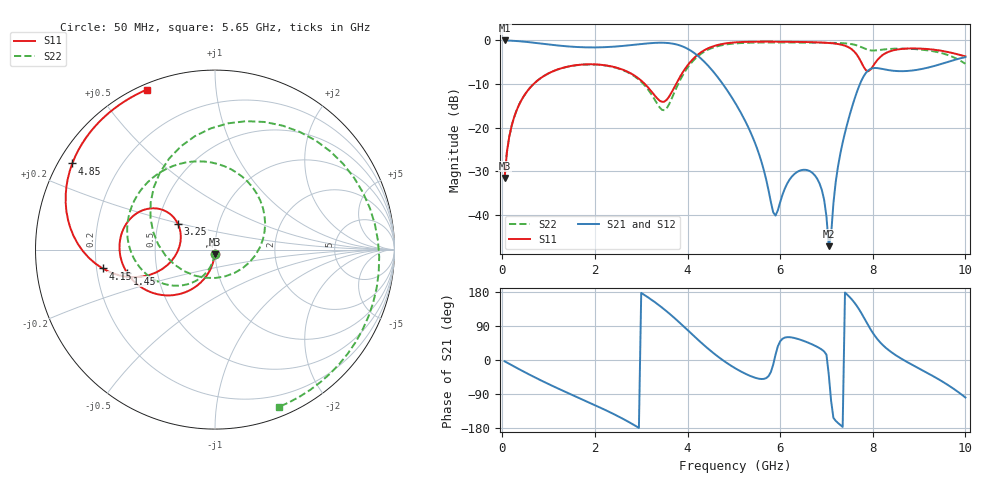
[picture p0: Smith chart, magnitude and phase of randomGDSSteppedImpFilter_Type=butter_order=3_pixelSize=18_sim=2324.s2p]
! freq	dB(S11)	phase(S11)	dB(S12)	phase(S12)
!  dB(S21)	phase(S21)	dB(S22)	phase(S22)
!S-par simulation data
#  GHz  S  DB  R 50
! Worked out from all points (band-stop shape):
!   200 points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, 50 MHz to 10 GHz, reference 50 ohm
!   highest |S21| = -0.01 dB at 50 MHz (marker M1); lowest = -47.2 dB at 7.05 GHz (marker M2)
!   |S21| within 3 dB of the highest: start of sweep to 4.16 GHz
!   lowest |S11| = -31.6 dB at 50 MHz (marker M3), VSWR 1.05, Z = 49.8 - j2.63 ohm
!   |S11| at or under -10 dB: start of sweep to 676.7 MHz; 3.078 GHz to 3.752 GHz (674.5 MHz wide, 19.8 % of centre)
!   |S22| runs from -31.6 to -0.5 dB; largest |S21 - S12| = 0
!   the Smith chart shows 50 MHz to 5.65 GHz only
!   S11 on the Smith chart (normalised r, x): 50 MHz: 1.00, -0.05; 1.45 GHz: 0.33, -0.12; 3.25 GHz: 0.64, +0.19; 4.15 GHz: 0.22, -0.08; 4.85 GHz: 0.04, +0.28; 5.65 GHz: 0.02, +0.66
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0.05  -31.56 -93.1  -0.01 -3.4  -0.01 -3.4  -31.57 -94.0
0.45  -13.03 -116.3  -0.26 -29.9  -0.26 -29.9  -13.04 -124.5
1.45  -5.93 -164.8  -1.40 -88.9  -1.40 -88.9  -5.95 166.0
1.75  -5.52 -177.0  -1.57 -105.3  -1.57 -105.3  -5.55 145.6
2.5  -6.35 155.3  -1.36 -148.5  -1.36 -148.5  -6.43 88.0
3.25  -12.09 145.6  -0.59 156.6  -0.59 156.6  -12.87 -7.8
3.4  -13.84 159.4  -0.53 143.0  -0.53 143.0  -15.40 -49.6
4.15  -3.94 -170.5  -2.93 62.0  -2.93 62.0  -4.35 108.3
4.45  -1.78 171.5  -5.86 29.2  -5.86 29.2  -2.08 61.4
4.85  -0.64 148.9  -11.35 -7.9  -11.35 -7.9  -0.90 8.9
5.05  -0.43 139.0  -14.71 -23.2  -14.71 -23.2  -0.67 -13.4
5.65  -0.27 113.0  -29.87 -49.8  -29.87 -49.8  -0.48 -68.0
5.9  -0.28 102.8  -40.19 13.9  -40.19 13.9  -0.48 -86.6
6.7  -0.41 67.3  -30.43 40.7  -30.43 40.7  -0.51 -136.6
6.95  -0.51 53.1  -36.60 22.5  -36.60 22.5  -0.53 -150.6
7.05  -0.58 46.4  -47.22 -38.6  -47.22 -38.6  -0.54 -156.1
7.5  -1.71 -1.5  -17.16 166.2  -17.16 166.2  -0.77 178.1
7.75  -4.97 -68.8  -9.34 124.4  -9.34 124.4  -1.53 163.6
8  -5.98 162.9  -6.37 71.8  -6.37 71.8  -2.32 156.5
8.35  -2.58 85.1  -6.83 25.3  -6.83 25.3  -1.97 142.9
9.3  -2.10 17.8  -5.95 -42.4  -5.95 -42.4  -2.47 82.4
10  -3.65 -10.2  -3.85 -98.9  -3.85 -98.9  -5.35 -1.7
